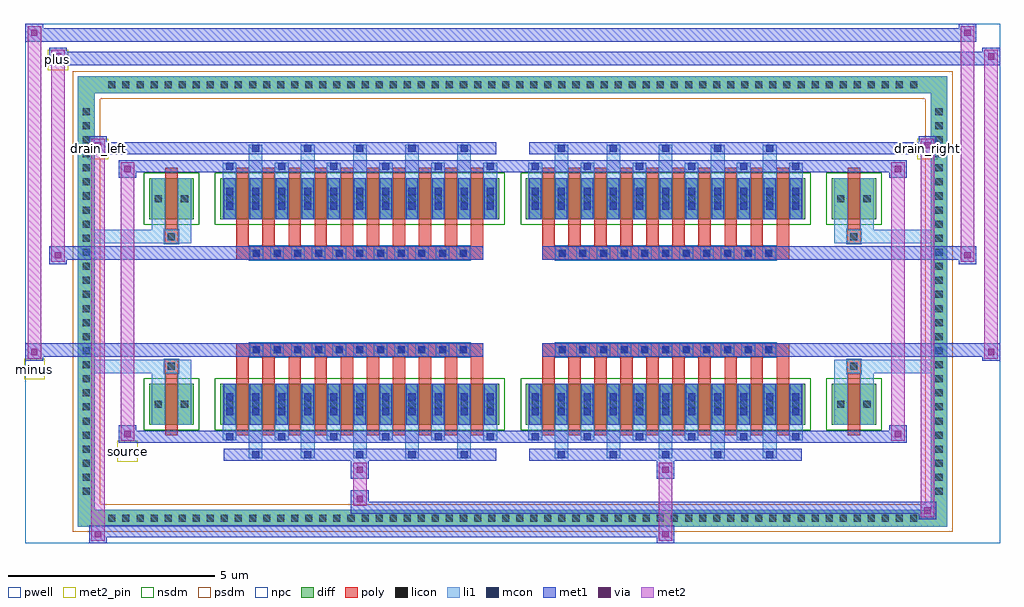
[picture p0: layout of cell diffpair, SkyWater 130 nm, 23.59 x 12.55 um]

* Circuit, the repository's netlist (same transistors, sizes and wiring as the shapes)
* NGSPICE file created from diffpair.ext - technology: sky130A

.subckt diffpair minus drain_right drain_left source plus
X0 drain_left plus source a_n2102_n1088# sky130_fd_pr__nfet_01v8 ad=0.165 pd=1.33 as=0.165 ps=1.33 w=1 l=0.3
X1 drain_left plus source a_n2102_n1088# sky130_fd_pr__nfet_01v8 ad=0.165 pd=1.33 as=0.165 ps=1.33 w=1 l=0.3
X2 source minus drain_right a_n2102_n1088# sky130_fd_pr__nfet_01v8 ad=0.165 pd=1.33 as=0.165 ps=1.33 w=1 l=0.3
X3 drain_right minus source a_n2102_n1088# sky130_fd_pr__nfet_01v8 ad=0.165 pd=1.33 as=0.165 ps=1.33 w=1 l=0.3
X4 drain_right minus source a_n2102_n1088# sky130_fd_pr__nfet_01v8 ad=0.165 pd=1.33 as=0.165 ps=1.33 w=1 l=0.3
X5 drain_right minus source a_n2102_n1088# sky130_fd_pr__nfet_01v8 ad=0.165 pd=1.33 as=0.39 ps=2.78 w=1 l=0.3
X6 a_n2102_n1088# a_n2102_n1088# a_n2102_n1088# a_n2102_n1088# sky130_fd_pr__nfet_01v8 ad=0.39 pd=2.78 as=3.12 ps=22.24 w=1 l=0.3
X7 source minus drain_right a_n2102_n1088# sky130_fd_pr__nfet_01v8 ad=0.165 pd=1.33 as=0.165 ps=1.33 w=1 l=0.3
X8 source plus drain_left a_n2102_n1088# sky130_fd_pr__nfet_01v8 ad=0.165 pd=1.33 as=0.165 ps=1.33 w=1 l=0.3
X9 source plus drain_left a_n2102_n1088# sky130_fd_pr__nfet_01v8 ad=0.165 pd=1.33 as=0.165 ps=1.33 w=1 l=0.3
X10 source plus drain_left a_n2102_n1088# sky130_fd_pr__nfet_01v8 ad=0.39 pd=2.78 as=0.165 ps=1.33 w=1 l=0.3
X11 source minus drain_right a_n2102_n1088# sky130_fd_pr__nfet_01v8 ad=0.165 pd=1.33 as=0.165 ps=1.33 w=1 l=0.3
X12 drain_right minus source a_n2102_n1088# sky130_fd_pr__nfet_01v8 ad=0.165 pd=1.33 as=0.165 ps=1.33 w=1 l=0.3
X13 drain_right minus source a_n2102_n1088# sky130_fd_pr__nfet_01v8 ad=0.165 pd=1.33 as=0.165 ps=1.33 w=1 l=0.3
X14 drain_left plus source a_n2102_n1088# sky130_fd_pr__nfet_01v8 ad=0.165 pd=1.33 as=0.165 ps=1.33 w=1 l=0.3
X15 drain_left plus source a_n2102_n1088# sky130_fd_pr__nfet_01v8 ad=0.165 pd=1.33 as=0.165 ps=1.33 w=1 l=0.3
X16 drain_right minus source a_n2102_n1088# sky130_fd_pr__nfet_01v8 ad=0.165 pd=1.33 as=0.165 ps=1.33 w=1 l=0.3
X17 source minus drain_right a_n2102_n1088# sky130_fd_pr__nfet_01v8 ad=0.39 pd=2.78 as=0.165 ps=1.33 w=1 l=0.3
X18 a_n2102_n1088# a_n2102_n1088# a_n2102_n1088# a_n2102_n1088# sky130_fd_pr__nfet_01v8 ad=0.39 pd=2.78 as=0 ps=0 w=1 l=0.3
X19 source minus drain_right a_n2102_n1088# sky130_fd_pr__nfet_01v8 ad=0.165 pd=1.33 as=0.165 ps=1.33 w=1 l=0.3
X20 source plus drain_left a_n2102_n1088# sky130_fd_pr__nfet_01v8 ad=0.165 pd=1.33 as=0.165 ps=1.33 w=1 l=0.3
X21 source plus drain_left a_n2102_n1088# sky130_fd_pr__nfet_01v8 ad=0.165 pd=1.33 as=0.165 ps=1.33 w=1 l=0.3
X22 drain_left plus source a_n2102_n1088# sky130_fd_pr__nfet_01v8 ad=0.165 pd=1.33 as=0.165 ps=1.33 w=1 l=0.3
X23 drain_left plus source a_n2102_n1088# sky130_fd_pr__nfet_01v8 ad=0.165 pd=1.33 as=0.39 ps=2.78 w=1 l=0.3
X24 source minus drain_right a_n2102_n1088# sky130_fd_pr__nfet_01v8 ad=0.165 pd=1.33 as=0.165 ps=1.33 w=1 l=0.3
X25 a_n2102_n1088# a_n2102_n1088# a_n2102_n1088# a_n2102_n1088# sky130_fd_pr__nfet_01v8 ad=0.39 pd=2.78 as=0 ps=0 w=1 l=0.3
X26 source plus drain_left a_n2102_n1088# sky130_fd_pr__nfet_01v8 ad=0.165 pd=1.33 as=0.165 ps=1.33 w=1 l=0.3
X27 drain_right minus source a_n2102_n1088# sky130_fd_pr__nfet_01v8 ad=0.165 pd=1.33 as=0.39 ps=2.78 w=1 l=0.3
X28 source minus drain_right a_n2102_n1088# sky130_fd_pr__nfet_01v8 ad=0.39 pd=2.78 as=0.165 ps=1.33 w=1 l=0.3
X29 drain_left plus source a_n2102_n1088# sky130_fd_pr__nfet_01v8 ad=0.165 pd=1.33 as=0.165 ps=1.33 w=1 l=0.3
X30 source plus drain_left a_n2102_n1088# sky130_fd_pr__nfet_01v8 ad=0.165 pd=1.33 as=0.165 ps=1.33 w=1 l=0.3
X31 source plus drain_left a_n2102_n1088# sky130_fd_pr__nfet_01v8 ad=0.165 pd=1.33 as=0.165 ps=1.33 w=1 l=0.3
X32 drain_right minus source a_n2102_n1088# sky130_fd_pr__nfet_01v8 ad=0.165 pd=1.33 as=0.165 ps=1.33 w=1 l=0.3
X33 drain_left plus source a_n2102_n1088# sky130_fd_pr__nfet_01v8 ad=0.165 pd=1.33 as=0.165 ps=1.33 w=1 l=0.3
X34 drain_left plus source a_n2102_n1088# sky130_fd_pr__nfet_01v8 ad=0.165 pd=1.33 as=0.39 ps=2.78 w=1 l=0.3
X35 drain_right minus source a_n2102_n1088# sky130_fd_pr__nfet_01v8 ad=0.165 pd=1.33 as=0.165 ps=1.33 w=1 l=0.3
X36 drain_right minus source a_n2102_n1088# sky130_fd_pr__nfet_01v8 ad=0.165 pd=1.33 as=0.165 ps=1.33 w=1 l=0.3
X37 source minus drain_right a_n2102_n1088# sky130_fd_pr__nfet_01v8 ad=0.165 pd=1.33 as=0.165 ps=1.33 w=1 l=0.3
X38 source minus drain_right a_n2102_n1088# sky130_fd_pr__nfet_01v8 ad=0.165 pd=1.33 as=0.165 ps=1.33 w=1 l=0.3
X39 source minus drain_right a_n2102_n1088# sky130_fd_pr__nfet_01v8 ad=0.165 pd=1.33 as=0.165 ps=1.33 w=1 l=0.3
X40 source plus drain_left a_n2102_n1088# sky130_fd_pr__nfet_01v8 ad=0.39 pd=2.78 as=0.165 ps=1.33 w=1 l=0.3
X41 source plus drain_left a_n2102_n1088# sky130_fd_pr__nfet_01v8 ad=0.165 pd=1.33 as=0.165 ps=1.33 w=1 l=0.3
X42 drain_left plus source a_n2102_n1088# sky130_fd_pr__nfet_01v8 ad=0.165 pd=1.33 as=0.165 ps=1.33 w=1 l=0.3
X43 a_n2102_n1088# a_n2102_n1088# a_n2102_n1088# a_n2102_n1088# sky130_fd_pr__nfet_01v8 ad=0.39 pd=2.78 as=0 ps=0 w=1 l=0.3
.ends

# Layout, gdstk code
import gdstk
lib = gdstk.Library(unit=1e-6, precision=5e-09)
def R(c, l, rs):  # rectangles x0, y0, x1, y1
    for r in rs: c.add(gdstk.rectangle(r[:2], r[2:], *l))
def A(c, l, x, y, w, h, nx, ny, dx, dy):  # array of equal rectangles
    R(c, l, [(x+i*dx, y+j*dy, x+i*dx+w, y+j*dy+h) for i in range(nx) for j in range(ny)])
def P(c, l, *ps):  # polygons
    for p in ps: c.add(gdstk.Polygon(p, *l))
pwell = (64, 44)
diff = (65, 20)
poly = (66, 20)
licon = (66, 44)
li1 = (67, 20)
mcon = (67, 44)
met1 = (68, 20)
via = (68, 44)
met2_pin = (69, 16)
met2 = (69, 20)
nsdm = (93, 44)
psdm = (94, 20)
npc = (95, 20)

diffpair = lib.new_cell('diffpair')
R(diffpair, pwell, [(-11.78,-5.84,11.78,6.71), (-9.1,-4.03,-0.01,-0.805), (0.01,-4.03,9.1,-0.805), (-9.1,0.805,-0.01,4.03), (0.01,0.805,9.1,4.03)])
A(diffpair, diff, -9.895, -5.44, 0.41, 0.41, 58, 2, 0.34, 10.47)
A(diffpair, diff, -10.51, -4.795, 0.41, 0.41, 1, 28, 0, 0.34)
A(diffpair, diff, 10.1, -4.795, 0.41, 0.41, 1, 28, 0, 0.34)
R(diffpair, diff, [(-9.895,-5.44,9.895,-5.03), (-10.51,-4.795,-10.1,4.795), (10.1,-4.795,10.51,4.795), (-8.79,-2.985,-7.71,-1.985), (-7.07,-2.985,-0.32,-1.985), (0.32,-2.985,7.07,-1.985), (7.71,-2.985,8.79,-1.985), (-8.79,1.985,-7.71,2.985), (-7.07,1.985,-0.32,2.985), (0.32,1.985,7.07,2.985), (7.71,1.985,8.79,2.985), (-9.895,5.03,9.895,5.44)])
P(diffpair, diff, [(10.51,5.44),(-10.51,5.44),(-10.51,-5.03),(-10.1,-5.03),(-10.1,5.03),(10.1,5.03),(10.1,-5.03),(-10.1,-5.03),(-10.51,-5.03),(-10.51,-5.44),(10.51,-5.44)])
A(diffpair, poly, -6.68, -3.235, 0.3, 1.5, 10, 2, 0.63, 4.97)
A(diffpair, poly, 0.71, -3.235, 0.3, 1.5, 10, 2, 0.63, 4.97)
A(diffpair, poly, -6.68, -1.735, 0.3, 0.4, 10, 2, 0.63, 3.07)
A(diffpair, poly, 0.71, -1.735, 0.3, 0.4, 10, 2, 0.63, 3.07)
A(diffpair, poly, -6.36, -1.335, 0.33, 0.33, 11, 2, 0.5, 2.34)
A(diffpair, poly, 1.03, -1.335, 0.33, 0.33, 11, 2, 0.5, 2.34)
R(diffpair, poly, [(-8.4,-3.235,-8.1,-1.735), (8.1,-3.235,8.4,-1.735), (-8.415,-1.735,-8.085,-1.405), (-8.415,-1.735,-8.085,-1.405), (8.085,-1.735,8.415,-1.405), (8.085,-1.735,8.415,-1.405), (-6.68,-1.335,-0.71,-1.005), (0.71,-1.335,6.68,-1.005), (-6.68,1.005,-0.71,1.335), (0.71,1.005,6.68,1.335), (-8.415,1.405,-8.085,1.735), (-8.415,1.405,-8.085,1.735), (8.085,1.405,8.415,1.735), (8.085,1.405,8.415,1.735), (-8.4,1.735,-8.1,3.235), (8.1,1.735,8.4,3.235)])
A(diffpair, licon, -9.775, -5.32, 0.17, 0.17, 58, 2, 0.34, 10.47)
A(diffpair, licon, -10.39, -4.675, 0.17, 0.17, 1, 28, 0, 0.34)
A(diffpair, licon, 10.22, -4.675, 0.17, 0.17, 1, 28, 0, 0.34)
A(diffpair, licon, -6.93, -2.57, 0.17, 0.17, 11, 2, 0.63, 4.97)
A(diffpair, licon, 0.46, -2.57, 0.17, 0.17, 11, 2, 0.63, 4.97)
A(diffpair, licon, -6.28, -1.255, 0.17, 0.17, 11, 2, 0.5, 2.34)
A(diffpair, licon, 1.11, -1.255, 0.17, 0.17, 11, 2, 0.5, 2.34)
R(diffpair, licon, [(-8.65,-2.57,-8.48,-2.4), (-8.02,-2.57,-7.85,-2.4), (7.85,-2.57,8.02,-2.4), (8.48,-2.57,8.65,-2.4), (-8.335,-1.655,-8.165,-1.485), (8.165,-1.655,8.335,-1.485), (-8.335,1.485,-8.165,1.655), (8.165,1.485,8.335,1.655), (-8.65,2.4,-8.48,2.57), (-8.02,2.4,-7.85,2.57), (7.85,2.4,8.02,2.57), (8.48,2.4,8.65,2.57)])
A(diffpair, li1, -9.855, -5.4, 0.33, 0.33, 58, 2, 0.34, 10.47)
A(diffpair, li1, -10.47, -4.755, 0.33, 0.33, 1, 28, 0, 0.34)
A(diffpair, li1, 10.14, -4.755, 0.33, 0.33, 1, 28, 0, 0.34)
A(diffpair, li1, -6.38, -3.79, 0.33, 0.805, 5, 2, 1.26, 6.775)
A(diffpair, li1, -6.3, -3.79, 0.17, 0.17, 5, 2, 1.26, 7.41)
A(diffpair, li1, 1.01, -3.79, 0.33, 0.805, 5, 2, 1.26, 6.775)
A(diffpair, li1, 1.09, -3.79, 0.17, 0.17, 5, 2, 1.26, 7.41)
A(diffpair, li1, -7.01, -3.36, 0.33, 0.375, 6, 2, 1.26, 6.345)
A(diffpair, li1, -6.93, -3.36, 0.17, 0.17, 6, 2, 1.26, 6.55)
A(diffpair, li1, 0.38, -3.36, 0.33, 0.375, 6, 2, 1.26, 6.345)
A(diffpair, li1, 0.46, -3.36, 0.17, 0.17, 6, 2, 1.26, 6.55)
A(diffpair, li1, -7.01, -2.985, 0.33, 1, 11, 2, 0.63, 4.97)
A(diffpair, li1, 0.38, -2.985, 0.33, 1, 11, 2, 0.63, 4.97)
A(diffpair, li1, -6.93, -2.75, 0.17, 0.17, 11, 2, 0.63, 0.36)
A(diffpair, li1, -6.93, -2.75, 0.17, 0.53, 11, 2, 0.63, 4.97)
A(diffpair, li1, 0.46, -2.75, 0.17, 0.17, 11, 2, 0.63, 0.36)
A(diffpair, li1, 0.46, -2.75, 0.17, 0.53, 11, 2, 0.63, 4.97)
A(diffpair, li1, -7.01, -2.65, 0.33, 0.33, 11, 2, 0.63, 4.97)
A(diffpair, li1, 0.38, -2.65, 0.33, 0.33, 11, 2, 0.63, 4.97)
A(diffpair, li1, -6.36, -1.335, 0.33, 0.33, 11, 2, 0.5, 2.34)
A(diffpair, li1, 1.03, -1.335, 0.33, 0.33, 11, 2, 0.5, 2.34)
A(diffpair, li1, -6.93, 2.22, 0.17, 0.17, 11, 2, 0.63, 0.36)
A(diffpair, li1, 0.46, 2.22, 0.17, 0.17, 11, 2, 0.63, 0.36)
R(diffpair, li1, [(-10.51,-5.44,-10.1,-5.03), (-10.51,-5.44,-10.1,-5.03), (-10.1,-5.44,10.1,-5.03), (10.1,-5.44,10.51,-5.03), (10.1,-5.44,10.51,-5.03), (-10.51,-5.03,-10.1,5.03), (10.1,-5.03,10.51,5.03), (-8.73,-2.985,-8.4,-1.985), (-8.1,-2.985,-7.77,-1.985), (7.77,-2.985,8.1,-1.985), (8.4,-2.985,8.73,-1.985), (-8.73,-2.65,-8.4,-2.32), (-8.1,-2.65,-7.77,-2.32), (7.77,-2.65,8.1,-2.32), (8.4,-2.65,8.73,-2.32), (-8.73,-1.985,-8.4,-1.405), (-8.1,-1.985,-7.77,-1.405), (7.77,-1.985,8.1,-1.405), (8.4,-1.985,8.73,-1.405), (-10.51,-1.735,-8.415,-1.405), (-8.73,-1.735,-8.415,-1.405), (-8.415,-1.735,-8.085,-1.405), (-8.085,-1.735,-7.77,-1.405), (7.77,-1.735,8.085,-1.405), (8.085,-1.735,8.415,-1.405), (8.085,-1.735,10.51,-1.405), (8.415,-1.735,8.73,-1.405), (-10.51,1.405,-8.415,1.735), (-8.73,1.405,-8.415,1.735), (-8.73,1.405,-8.4,1.985), (-8.415,1.405,-8.085,1.735), (-8.1,1.405,-7.77,1.985), (-8.085,1.405,-7.77,1.735), (7.77,1.405,8.085,1.735), (7.77,1.405,8.1,1.985), (8.085,1.405,8.415,1.735), (8.085,1.405,10.51,1.735), (8.4,1.405,8.73,1.985), (8.415,1.405,8.73,1.735), (-8.73,1.985,-8.4,2.985), (-8.1,1.985,-7.77,2.985), (7.77,1.985,8.1,2.985), (8.4,1.985,8.73,2.985), (-8.73,2.32,-8.4,2.65), (-8.1,2.32,-7.77,2.65), (7.77,2.32,8.1,2.65), (8.4,2.32,8.73,2.65), (-10.51,5.03,-10.1,5.44), (-10.51,5.03,-10.1,5.44), (-10.1,5.03,10.1,5.44), (10.1,5.03,10.51,5.44), (10.1,5.03,10.51,5.44)])
A(diffpair, mcon, -6.3, -3.79, 0.17, 0.17, 5, 2, 1.26, 7.41)
A(diffpair, mcon, 1.09, -3.79, 0.17, 0.17, 5, 2, 1.26, 7.41)
A(diffpair, mcon, -6.93, -3.36, 0.17, 0.17, 6, 2, 1.26, 6.55)
A(diffpair, mcon, 0.46, -3.36, 0.17, 0.17, 6, 2, 1.26, 6.55)
A(diffpair, mcon, -6.93, -2.75, 0.17, 0.17, 11, 2, 0.63, 0.36)
A(diffpair, mcon, 0.46, -2.75, 0.17, 0.17, 11, 2, 0.63, 0.36)
A(diffpair, mcon, -6.28, -1.255, 0.17, 0.17, 11, 2, 0.5, 2.34)
A(diffpair, mcon, 1.11, -1.255, 0.17, 0.17, 11, 2, 0.5, 2.34)
A(diffpair, mcon, -6.93, 2.22, 0.17, 0.17, 11, 2, 0.63, 0.36)
A(diffpair, mcon, 0.46, 2.22, 0.17, 0.17, 11, 2, 0.63, 0.36)
A(diffpair, met1, -6.36, -3.85, 0.29, 0.29, 5, 2, 1.26, 7.41)
A(diffpair, met1, 1.03, -3.85, 0.29, 0.29, 5, 2, 1.26, 7.41)
A(diffpair, met1, -6.99, -3.42, 0.29, 0.29, 6, 2, 1.26, 6.55)
A(diffpair, met1, 0.4, -3.42, 0.29, 0.29, 6, 2, 1.26, 6.55)
A(diffpair, met1, -6.99, -2.985, 0.29, 1, 11, 2, 0.63, 4.97)
A(diffpair, met1, 0.4, -2.985, 0.29, 1, 11, 2, 0.63, 4.97)
A(diffpair, met1, -6.99, -2.81, 0.29, 0.29, 11, 2, 0.63, 0.36)
A(diffpair, met1, 0.4, -2.81, 0.29, 0.29, 11, 2, 0.63, 0.36)
A(diffpair, met1, -6.34, -1.315, 0.29, 0.29, 11, 2, 0.5, 2.34)
A(diffpair, met1, 1.05, -1.315, 0.29, 0.29, 11, 2, 0.5, 2.34)
A(diffpair, met1, -6.99, 2.16, 0.29, 0.29, 11, 2, 0.63, 0.36)
A(diffpair, met1, 0.4, 2.16, 0.29, 0.29, 11, 2, 0.63, 0.36)
R(diffpair, met1, [(-10.24,-5.84,-9.81,-5.41), (3.48,-5.84,3.91,-5.41), (-10.24,-5.7,3.91,-5.41), (9.81,-5.27,10.24,-4.84), (-3.91,-5.13,10.24,-4.84), (-3.91,-4.99,-3.48,-4.56), (-3.91,-4.28,-3.48,-3.85), (3.48,-4.28,3.91,-3.85), (-6.99,-3.85,-0.4,-3.56), (0.4,-3.85,6.99,-3.56), (-9.53,-3.42,-9.1,-2.99), (-9.53,-3.42,-6.99,-3.13), (-6.99,-3.42,-0.4,-3.13), (-0.4,-3.42,0.4,-3.13), (0.4,-3.42,6.99,-3.13), (6.99,-3.42,9.53,-3.13), (9.1,-3.42,9.53,-2.99), (-11.78,-1.435,-11.35,-1.005), (11.35,-1.435,11.78,-1.005), (-11.78,-1.335,-0.71,-1.005), (-6.68,-1.335,-0.71,-1.005), (0.71,-1.335,6.68,-1.005), (0.71,-1.335,11.78,-1.005), (-11.21,0.905,-10.78,1.335), (10.78,0.905,11.21,1.335), (-11.21,1.005,-6.68,1.335), (-6.68,1.005,-0.71,1.335), (0.71,1.005,6.68,1.335), (6.68,1.005,11.21,1.335), (-9.53,2.99,-9.1,3.42), (9.1,2.99,9.53,3.42), (-9.53,3.13,-6.99,3.42), (-6.99,3.13,-0.4,3.42), (-0.4,3.13,0.4,3.42), (0.4,3.13,6.99,3.42), (6.99,3.13,9.53,3.42), (-10.24,3.56,-9.81,3.99), (-10.24,3.56,-6.99,3.85), (-6.99,3.56,-0.4,3.85), (0.4,3.56,6.99,3.85), (6.99,3.56,10.24,3.85), (9.81,3.56,10.24,3.99), (-11.21,5.71,-10.78,6.14), (-11.21,5.71,-9.1,6.04), (-9.1,5.71,9.1,6.04), (9.1,5.71,11.78,6.04), (11.35,5.71,11.78,6.14), (-11.78,6.28,-11.35,6.71), (-11.78,6.28,-9.1,6.61), (-9.1,6.28,9.1,6.61), (9.1,6.28,11.21,6.61), (10.78,6.28,11.21,6.71)])
R(diffpair, via, [(-10.1,-5.7,-9.95,-5.55), (3.62,-5.7,3.77,-5.55), (9.95,-5.13,10.1,-4.98), (-3.77,-4.85,-3.62,-4.7), (-3.77,-4.14,-3.62,-3.99), (3.62,-4.14,3.77,-3.99), (-9.39,-3.28,-9.24,-3.13), (9.24,-3.28,9.39,-3.13), (-11.64,-1.295,-11.49,-1.145), (11.49,-1.295,11.64,-1.145), (-11.07,1.045,-10.92,1.195), (10.92,1.045,11.07,1.195), (-9.39,3.13,-9.24,3.28), (9.24,3.13,9.39,3.28), (-10.1,3.7,-9.95,3.85), (9.95,3.7,10.1,3.85), (-11.07,5.85,-10.92,6), (11.49,5.85,11.64,6), (-11.64,6.42,-11.49,6.57), (10.92,6.42,11.07,6.57)])
R(diffpair, met2_pin, [(-9.565,-3.87,-9.065,-3.37), (-11.815,-1.885,-11.315,-1.385), (-10.275,3.44,-9.775,3.94), (9.775,3.44,10.275,3.94), (-11.245,5.59,-10.745,6.09)])
R(diffpair, met2, [(-10.19,-5.79,-9.86,-5.46), (-10.19,-5.79,-9.86,3.94), (3.53,-5.79,3.86,-5.46), (3.53,-5.46,3.86,-4.23), (9.86,-5.22,10.19,-4.89), (9.86,-5.22,10.19,3.94), (-3.86,-4.94,-3.53,-4.61), (-3.86,-4.61,-3.53,-4.23), (-3.86,-4.23,-3.53,-3.9), (3.53,-4.23,3.86,-3.9), (-9.48,-3.37,-9.15,-3.04), (-9.48,-3.37,-9.15,3.37), (9.15,-3.37,9.48,-3.04), (9.15,-3.37,9.48,3.37), (-11.73,-1.385,-11.4,-1.055), (-11.73,-1.385,-11.4,6.66), (11.4,-1.385,11.73,-1.055), (11.4,-1.385,11.73,6.09), (-11.16,0.955,-10.83,1.285), (-11.16,0.955,-10.83,6.09), (10.83,0.955,11.16,1.285), (10.83,0.955,11.16,6.66), (-9.48,3.04,-9.15,3.37), (9.15,3.04,9.48,3.37), (-10.19,3.61,-9.86,3.94), (9.86,3.61,10.19,3.94), (-11.16,5.76,-10.83,6.09), (11.4,5.76,11.73,6.09), (-11.73,6.33,-11.4,6.66), (10.83,6.33,11.16,6.66)])
P(diffpair, met2, [(11.73,-1.385),(11.73,-1.385),(11.73,-1.055),(11.73,-1.055)],
  [(11.73,5.76),(11.73,5.76),(11.73,6.09),(11.73,6.09)],
  [(-11.4,-1.385),(-11.4,-1.385),(-11.4,-1.055),(-11.4,-1.055)],
  [(-11.4,6.33),(-11.4,6.33),(-11.4,6.66),(-11.4,6.66)],
  [(11.16,0.955),(11.16,0.955),(11.16,1.285),(11.16,1.285)],
  [(11.16,6.33),(11.16,6.33),(11.16,6.66),(11.16,6.66)],
  [(-10.83,0.955),(-10.83,0.955),(-10.83,1.285),(-10.83,1.285)],
  [(-10.83,5.76),(-10.83,5.76),(-10.83,6.09),(-10.83,6.09)],
  [(-9.86,-5.79),(-9.86,-5.79),(-9.86,-5.46),(-9.86,-5.46)],
  [(-9.86,3.61),(-9.86,3.61),(-9.86,3.94),(-9.86,3.94)],
  [(10.19,-5.22),(10.19,-5.22),(10.19,-4.89),(10.19,-4.89)],
  [(10.19,3.61),(10.19,3.61),(10.19,3.94),(10.19,3.94)],
  [(-9.15,-3.37),(-9.15,-3.37),(-9.15,-3.04),(-9.15,-3.04)],
  [(-9.15,3.04),(-9.15,3.04),(-9.15,3.37),(-9.15,3.37)],
  [(9.48,-3.37),(9.48,-3.37),(9.48,-3.04),(9.48,-3.04)],
  [(9.48,3.04),(9.48,3.04),(9.48,3.37),(9.48,3.37)])
R(diffpair, nsdm, [(-8.92,-3.115,-7.58,-1.855), (-7.2,-3.115,-0.19,-1.855), (0.19,-3.115,7.2,-1.855), (7.58,-3.115,8.92,-1.855), (-8.92,1.855,-7.58,3.115), (-7.2,1.855,-0.19,3.115), (0.19,1.855,7.2,3.115), (7.58,1.855,8.92,3.115)])
P(diffpair, psdm, [(10.64,5.57),(-10.64,5.57),(-10.64,-4.9),(-9.97,-4.9),(-9.97,4.9),(9.97,4.9),(9.97,-4.9),(-9.97,-4.9),(-10.64,-4.9),(-10.64,-5.57),(10.64,-5.57)])
A(diffpair, npc, -6.38, -1.355, 0.37, 0.37, 11, 2, 0.5, 2.34)
A(diffpair, npc, 1.01, -1.355, 0.37, 0.37, 11, 2, 0.5, 2.34)
R(diffpair, npc, [(-8.435,-1.755,-8.065,-1.385), (8.065,-1.755,8.435,-1.385), (-6.38,-1.355,-5.51,-0.985), (-6.38,-1.355,-5.51,-0.985), (-5.88,-1.355,-5.01,-0.985), (-5.88,-1.355,-5.01,-0.985), (-5.38,-1.355,-4.51,-0.985), (-5.38,-1.355,-4.51,-0.985), (-4.88,-1.355,-4.01,-0.985), (-4.88,-1.355,-4.01,-0.985), (-4.38,-1.355,-3.51,-0.985), (-4.38,-1.355,-3.51,-0.985), (-3.88,-1.355,-3.01,-0.985), (-3.88,-1.355,-3.01,-0.985), (-3.38,-1.355,-2.51,-0.985), (-3.38,-1.355,-2.51,-0.985), (-2.88,-1.355,-2.01,-0.985), (-2.88,-1.355,-2.01,-0.985), (-2.38,-1.355,-1.51,-0.985), (-2.38,-1.355,-1.51,-0.985), (-1.88,-1.355,-1.01,-0.985), (-1.88,-1.355,-1.01,-0.985), (1.01,-1.355,1.88,-0.985), (1.01,-1.355,1.88,-0.985), (1.51,-1.355,2.38,-0.985), (1.51,-1.355,2.38,-0.985), (2.01,-1.355,2.88,-0.985), (2.01,-1.355,2.88,-0.985), (2.51,-1.355,3.38,-0.985), (2.51,-1.355,3.38,-0.985), (3.01,-1.355,3.88,-0.985), (3.01,-1.355,3.88,-0.985), (3.51,-1.355,4.38,-0.985), (3.51,-1.355,4.38,-0.985), (4.01,-1.355,4.88,-0.985), (4.01,-1.355,4.88,-0.985), (4.51,-1.355,5.38,-0.985), (4.51,-1.355,5.38,-0.985), (5.01,-1.355,5.88,-0.985), (5.01,-1.355,5.88,-0.985), (5.51,-1.355,6.38,-0.985), (5.51,-1.355,6.38,-0.985), (-6.38,0.985,-5.51,1.355), (-6.38,0.985,-5.51,1.355), (-5.88,0.985,-5.01,1.355), (-5.88,0.985,-5.01,1.355), (-5.38,0.985,-4.51,1.355), (-5.38,0.985,-4.51,1.355), (-4.88,0.985,-4.01,1.355), (-4.88,0.985,-4.01,1.355), (-4.38,0.985,-3.51,1.355), (-4.38,0.985,-3.51,1.355), (-3.88,0.985,-3.01,1.355), (-3.88,0.985,-3.01,1.355), (-3.38,0.985,-2.51,1.355), (-3.38,0.985,-2.51,1.355), (-2.88,0.985,-2.01,1.355), (-2.88,0.985,-2.01,1.355), (-2.38,0.985,-1.51,1.355), (-2.38,0.985,-1.51,1.355), (-1.88,0.985,-1.01,1.355), (-1.88,0.985,-1.01,1.355), (1.01,0.985,1.88,1.355), (1.01,0.985,1.88,1.355), (1.51,0.985,2.38,1.355), (1.51,0.985,2.38,1.355), (2.01,0.985,2.88,1.355), (2.01,0.985,2.88,1.355), (2.51,0.985,3.38,1.355), (2.51,0.985,3.38,1.355), (3.01,0.985,3.88,1.355), (3.01,0.985,3.88,1.355), (3.51,0.985,4.38,1.355), (3.51,0.985,4.38,1.355), (4.01,0.985,4.88,1.355), (4.01,0.985,4.88,1.355), (4.51,0.985,5.38,1.355), (4.51,0.985,5.38,1.355), (5.01,0.985,5.88,1.355), (5.01,0.985,5.88,1.355), (5.51,0.985,6.38,1.355), (5.51,0.985,6.38,1.355), (-8.435,1.385,-8.065,1.755), (8.065,1.385,8.435,1.755)])
diffpair.add(gdstk.Label('minus', (-11.565,-1.635), layer=69, texttype=5))
diffpair.add(gdstk.Label('drain_right', (10.025,3.69), layer=69, texttype=5))
diffpair.add(gdstk.Label('drain_left', (-10.025,3.69), layer=69, texttype=5))
diffpair.add(gdstk.Label('source', (-9.315,-3.62), layer=69, texttype=5))
diffpair.add(gdstk.Label('plus', (-10.995,5.84), layer=69, texttype=5))

lib.write_gds('diffpair.gds')
